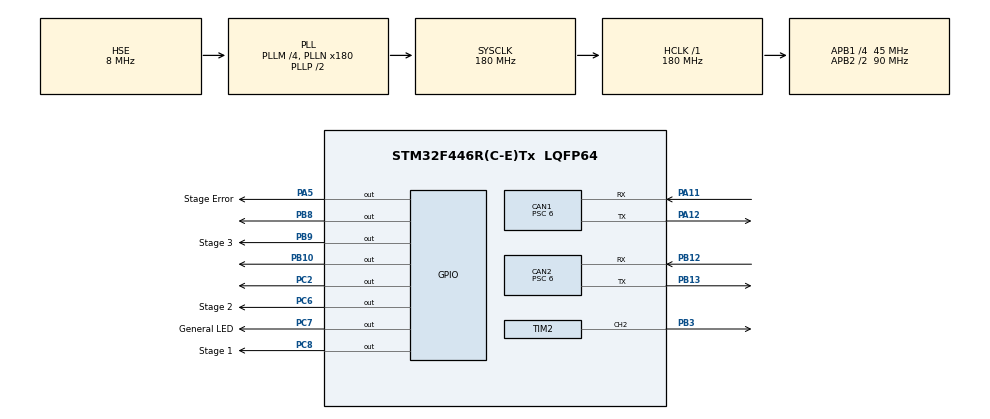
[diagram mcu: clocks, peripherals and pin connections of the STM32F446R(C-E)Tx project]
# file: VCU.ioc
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CAN1.ABOM=ENABLE
CAN1.BS1=CAN_BS1_12TQ
CAN1.BS2=CAN_BS2_2TQ
CAN1.CalculateBaudRate=500000
CAN1.CalculateTimeBit=2000
CAN1.CalculateTimeQuantum=133.33333333333331
CAN1.Prescaler=6
CAN2.ABOM=ENABLE
CAN2.BS1=CAN_BS1_12TQ
CAN2.BS2=CAN_BS2_2TQ
CAN2.CalculateBaudRate=500000
CAN2.CalculateTimeBit=2000
CAN2.CalculateTimeQuantum=133.33333333333331
CAN2.Mode=CAN_MODE_NORMAL
CAN2.Prescaler=6
Mcu.Family=STM32F4
Mcu.Name=STM32F446R(C-E)Tx
Mcu.Package=LQFP64
NVIC.CAN1_RX0_IRQn=true\:0\:0\:false\:false\:true\:true\:true\:true
NVIC.CAN2_RX0_IRQn=true\:0\:0\:false\:false\:true\:true\:true\:true
NVIC.PriorityGroup=NVIC_PRIORITYGROUP_4
NVIC.TIM6_DAC_IRQn=true\:0\:0\:false\:false\:true\:true\:true\:true
PA11.Mode=CAN_Activate
PA11.Signal=CAN1_RX
PA12.Mode=CAN_Activate
PA12.Signal=CAN1_TX
PA5.GPIO_Label=Stage Error
PA5.Signal=GPIO_Output
PB10.Signal=GPIO_Output
PB12.Mode=CAN_Activate
PB12.Signal=CAN2_RX
PB13.Mode=CAN_Activate
PB13.Signal=CAN2_TX
PB3.Signal=S_TIM2_CH2
PB8.Signal=GPIO_Output
PB9.GPIO_Label=Stage 3
PB9.Signal=GPIO_Output
PC2.Signal=GPIO_Output
PC6.GPIO_Label=Stage 2
PC6.Signal=GPIO_Output
PC7.GPIO_Label=General LED
PC7.Signal=GPIO_Output
PC8.GPIO_Label=Stage 1
PC8.Signal=GPIO_Output
PH0-OSC_IN.Mode=HSE-External-Oscillator
PH0-OSC_IN.Signal=RCC_OSC_IN
PH1-OSC_OUT.Mode=HSE-External-Oscillator
PH1-OSC_OUT.Signal=RCC_OSC_OUT
ProjectManager.HeapSize=0x200
ProjectManager.StackSize=0x400
ProjectManager.TargetToolchain=CMake
RCC.AHBFreq_Value=180000000
RCC.APB1CLKDivider=RCC_HCLK_DIV4
RCC.APB1Freq_Value=45000000
RCC.APB1TimFreq_Value=90000000
RCC.APB2CLKDivider=RCC_HCLK_DIV2
RCC.APB2Freq_Value=90000000
RCC.APB2TimFreq_Value=180000000
RCC.CortexFreq_Value=180000000
RCC.HCLKFreq_Value=180000000
RCC.HSE_VALUE=8000000
RCC.PLLM=4
RCC.PLLN=180
RCC.PLLSourceVirtual=RCC_PLLSOURCE_HSE
RCC.SYSCLKFreq_VALUE=180000000
RCC.SYSCLKSource=RCC_SYSCLKSOURCE_PLLCLK
RCC.USBFreq_Value=180000000
RCC.VCOOutputFreq_Value=360000000
SH.S_TIM2_CH2.0=TIM2_CH2,PWM Generation2 CH2
TIM2.Channel-PWM\ Generation2\ CH2=TIM_CHANNEL_2
TIM6.AutoReloadPreload=TIM_AUTORELOAD_PRELOAD_ENABLE
TIM6.Period=199
TIM6.Prescaler=8999
VP_TIM6_VS_ClockSourceINT.Mode=Enable_Timer
board=custom

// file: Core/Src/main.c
/* USER CODE BEGIN Header */
/**
  ******************************************************************************
  * @file           : main.c
  * @brief          : Main program body
  ******************************************************************************
  * @attention
  *
  * Copyright (c) 2025 STMicroelectronics.
  * All rights reserved.
  *
  * This software is licensed under terms that can be found in the LICENSE file
  * in the root directory of this software component.
  * If no LICENSE file comes with this software, it is provided AS-IS.
  *
  ******************************************************************************
  */
/* USER CODE END Header */
#include "main.h"

/* USER CODE BEGIN Includes */
#include "FSM.h"
/* USER CODE END Includes */

CAN_HandleTypeDef hcan1;
CAN_HandleTypeDef hcan2;

TIM_HandleTypeDef htim2;
TIM_HandleTypeDef htim6;

/* USER CODE BEGIN PV */
handler_set_t handlers = {0};
size_t RxQueueSize =128 ;
uint8_t flag = 0 ;
can_message_t msg = {0x100,{0}};
/* USER CODE END PV */

void SystemClock_Config(void);
static void MX_GPIO_Init(void);
static void MX_TIM6_Init(void);
static void MX_CAN2_Init(void);
static void MX_TIM2_Init(void);
static void MX_CAN1_Init(void);

int main(void)
{

  /* MCU Configuration--------------------------------------------------------*/

  /* Reset of all peripherals, Initializes the Flash interface and the Systick. */
  HAL_Init();

  /* USER CODE BEGIN Init */
  HAL_Delay(1000);
  /* USER CODE END Init */

  /* Configure the system clock */
  SystemClock_Config();

  /* Initialize all configured peripherals */
  MX_GPIO_Init();
  MX_TIM6_Init();
  MX_CAN2_Init();
  MX_TIM2_Init();
  MX_CAN1_Init();
  /* USER CODE BEGIN 2 */
  handlers.hcan1 = &hcan1;
  handlers.hcan2 = &hcan2;
  handlers.htim2 = &htim2;
  PlatformInit(&handlers,RxQueueSize);
  FSM_Init();
  HAL_TIM_Base_Start_IT(&htim6);
  /* USER CODE END 2 */

  /* Infinite loop */
  /* USER CODE BEGIN WHILE */
  while (1)
  {
    if(flag)
    {
      flag = 0;
      FSM();
    }
    plt_CanProcessRxMsgs();
    /* USER CODE END WHILE */

  }
}

void SystemClock_Config(void)
{
  RCC_OscInitTypeDef RCC_OscInitStruct = {0};
  RCC_ClkInitTypeDef RCC_ClkInitStruct = {0};

  /** Configure the main internal regulator output voltage
  */
  __HAL_RCC_PWR_CLK_ENABLE();
  __HAL_PWR_VOLTAGESCALING_CONFIG(PWR_REGULATOR_VOLTAGE_SCALE1);

  /** Initializes the RCC Oscillators according to the specified parameters
  * in the RCC_OscInitTypeDef structure.
  */
  RCC_OscInitStruct.OscillatorType = RCC_OSCILLATORTYPE_HSE;
  RCC_OscInitStruct.HSEState = RCC_HSE_ON;
  RCC_OscInitStruct.PLL.PLLState = RCC_PLL_ON;
  RCC_OscInitStruct.PLL.PLLSource = RCC_PLLSOURCE_HSE;
  RCC_OscInitStruct.PLL.PLLM = 4;
  RCC_OscInitStruct.PLL.PLLN = 180;
  RCC_OscInitStruct.PLL.PLLP = RCC_PLLP_DIV2;
  RCC_OscInitStruct.PLL.PLLQ = 2;
  RCC_OscInitStruct.PLL.PLLR = 2;
  if (HAL_RCC_OscConfig(&RCC_OscInitStruct) != HAL_OK)
  {
    Error_Handler();
  }

  /** Activate the Over-Drive mode
  */
  if (HAL_PWREx_EnableOverDrive() != HAL_OK)
  {
    Error_Handler();
  }

  /** Initializes the CPU, AHB and APB buses clocks
  */
  RCC_ClkInitStruct.ClockType = RCC_CLOCKTYPE_HCLK|RCC_CLOCKTYPE_SYSCLK
                              |RCC_CLOCKTYPE_PCLK1|RCC_CLOCKTYPE_PCLK2;
  RCC_ClkInitStruct.SYSCLKSource = RCC_SYSCLKSOURCE_PLLCLK;
  RCC_ClkInitStruct.AHBCLKDivider = RCC_SYSCLK_DIV1;
  RCC_ClkInitStruct.APB1CLKDivider = RCC_HCLK_DIV4;
  RCC_ClkInitStruct.APB2CLKDivider = RCC_HCLK_DIV2;

  if (HAL_RCC_ClockConfig(&RCC_ClkInitStruct, FLASH_LATENCY_5) != HAL_OK)
  {
    Error_Handler();
  }
}

static void MX_CAN1_Init(void)
{

  hcan1.Instance = CAN1;
  hcan1.Init.Prescaler = 6;
  hcan1.Init.Mode = CAN_MODE_NORMAL;
  hcan1.Init.SyncJumpWidth = CAN_SJW_1TQ;
  hcan1.Init.TimeSeg1 = CAN_BS1_12TQ;
  hcan1.Init.TimeSeg2 = CAN_BS2_2TQ;
  hcan1.Init.TimeTriggeredMode = DISABLE;
  hcan1.Init.AutoBusOff = ENABLE;
  hcan1.Init.AutoWakeUp = DISABLE;
  hcan1.Init.AutoRetransmission = DISABLE;
  hcan1.Init.ReceiveFifoLocked = DISABLE;
  hcan1.Init.TransmitFifoPriority = DISABLE;
  if (HAL_CAN_Init(&hcan1) != HAL_OK)
  {
    Error_Handler();
  }

}

static void MX_CAN2_Init(void)
{

  hcan2.Instance = CAN2;
  hcan2.Init.Prescaler = 6;
  hcan2.Init.Mode = CAN_MODE_NORMAL;
  hcan2.Init.SyncJumpWidth = CAN_SJW_1TQ;
  hcan2.Init.TimeSeg1 = CAN_BS1_12TQ;
  hcan2.Init.TimeSeg2 = CAN_BS2_2TQ;
  hcan2.Init.TimeTriggeredMode = DISABLE;
  hcan2.Init.AutoBusOff = ENABLE;
  hcan2.Init.AutoWakeUp = DISABLE;
  hcan2.Init.AutoRetransmission = DISABLE;
  hcan2.Init.ReceiveFifoLocked = DISABLE;
  hcan2.Init.TransmitFifoPriority = DISABLE;
  if (HAL_CAN_Init(&hcan2) != HAL_OK)
  {
    Error_Handler();
  }

}

static void MX_TIM2_Init(void)
{

  TIM_MasterConfigTypeDef sMasterConfig = {0};
  TIM_OC_InitTypeDef sConfigOC = {0};

  htim2.Instance = TIM2;
  htim2.Init.Prescaler = 0;
  htim2.Init.CounterMode = TIM_COUNTERMODE_UP;
  htim2.Init.Period = 4294967295;
  htim2.Init.ClockDivision = TIM_CLOCKDIVISION_DIV1;
  htim2.Init.AutoReloadPreload = TIM_AUTORELOAD_PRELOAD_DISABLE;
  if (HAL_TIM_PWM_Init(&htim2) != HAL_OK)
  {
    Error_Handler();
  }
  sMasterConfig.MasterOutputTrigger = TIM_TRGO_RESET;
  sMasterConfig.MasterSlaveMode = TIM_MASTERSLAVEMODE_DISABLE;
  if (HAL_TIMEx_MasterConfigSynchronization(&htim2, &sMasterConfig) != HAL_OK)
  {
    Error_Handler();
  }
  sConfigOC.OCMode = TIM_OCMODE_PWM1;
  sConfigOC.Pulse = 0;
  sConfigOC.OCPolarity = TIM_OCPOLARITY_HIGH;
  sConfigOC.OCFastMode = TIM_OCFAST_DISABLE;
  if (HAL_TIM_PWM_ConfigChannel(&htim2, &sConfigOC, TIM_CHANNEL_2) != HAL_OK)
  {
    Error_Handler();
  }
  HAL_TIM_MspPostInit(&htim2);

}

static void MX_TIM6_Init(void)
{

  TIM_MasterConfigTypeDef sMasterConfig = {0};

  htim6.Instance = TIM6;
  htim6.Init.Prescaler = 8999;
  htim6.Init.CounterMode = TIM_COUNTERMODE_UP;
  htim6.Init.Period = 199;
  htim6.Init.AutoReloadPreload = TIM_AUTORELOAD_PRELOAD_ENABLE;
  if (HAL_TIM_Base_Init(&htim6) != HAL_OK)
  {
    Error_Handler();
  }
  sMasterConfig.MasterOutputTrigger = TIM_TRGO_RESET;
  sMasterConfig.MasterSlaveMode = TIM_MASTERSLAVEMODE_DISABLE;
  if (HAL_TIMEx_MasterConfigSynchronization(&htim6, &sMasterConfig) != HAL_OK)
  {
    Error_Handler();
  }

}

static void MX_GPIO_Init(void)
{
  GPIO_InitTypeDef GPIO_InitStruct = {0};

  /* GPIO Ports Clock Enable */
  __HAL_RCC_GPIOH_CLK_ENABLE();
  __HAL_RCC_GPIOC_CLK_ENABLE();
  __HAL_RCC_GPIOA_CLK_ENABLE();
  __HAL_RCC_GPIOB_CLK_ENABLE();

  /*Configure GPIO pin Output Level */
  HAL_GPIO_WritePin(GPIOC, GPIO_PIN_2|Stage_2_Pin|General_LED_Pin|Stage_1_Pin, GPIO_PIN_RESET);

  /*Configure GPIO pin Output Level */
  HAL_GPIO_WritePin(Stage_Error_GPIO_Port, Stage_Error_Pin, GPIO_PIN_RESET);

  /*Configure GPIO pin Output Level */
  HAL_GPIO_WritePin(GPIOB, GPIO_PIN_10|GPIO_PIN_8|Stage_3_Pin, GPIO_PIN_RESET);

  /*Configure GPIO pins : PC2 Stage_2_Pin General_LED_Pin Stage_1_Pin */
  GPIO_InitStruct.Pin = GPIO_PIN_2|Stage_2_Pin|General_LED_Pin|Stage_1_Pin;
  GPIO_InitStruct.Mode = GPIO_MODE_OUTPUT_PP;
  GPIO_InitStruct.Pull = GPIO_NOPULL;
  GPIO_InitStruct.Speed = GPIO_SPEED_FREQ_LOW;
  HAL_GPIO_Init(GPIOC, &GPIO_InitStruct);

  /*Configure GPIO pin : Stage_Error_Pin */
  GPIO_InitStruct.Pin = Stage_Error_Pin;
  GPIO_InitStruct.Mode = GPIO_MODE_OUTPUT_PP;
  GPIO_InitStruct.Pull = GPIO_NOPULL;
  GPIO_InitStruct.Speed = GPIO_SPEED_FREQ_LOW;
  HAL_GPIO_Init(Stage_Error_GPIO_Port, &GPIO_InitStruct);

  /*Configure GPIO pins : PB10 PB8 Stage_3_Pin */
  GPIO_InitStruct.Pin = GPIO_PIN_10|GPIO_PIN_8|Stage_3_Pin;
  GPIO_InitStruct.Mode = GPIO_MODE_OUTPUT_PP;
  GPIO_InitStruct.Pull = GPIO_NOPULL;
  GPIO_InitStruct.Speed = GPIO_SPEED_FREQ_LOW;
  HAL_GPIO_Init(GPIOB, &GPIO_InitStruct);

}

/* USER CODE BEGIN 4 */
void HAL_TIM_PeriodElapsedCallback(TIM_HandleTypeDef *htim)
{
  if(htim->Instance == TIM6)
  {
    flag = 1;
  }
}
/* USER CODE END 4 */

void Error_Handler(void)
{
  __disable_irq();
  while (1)
  {
  }
}
